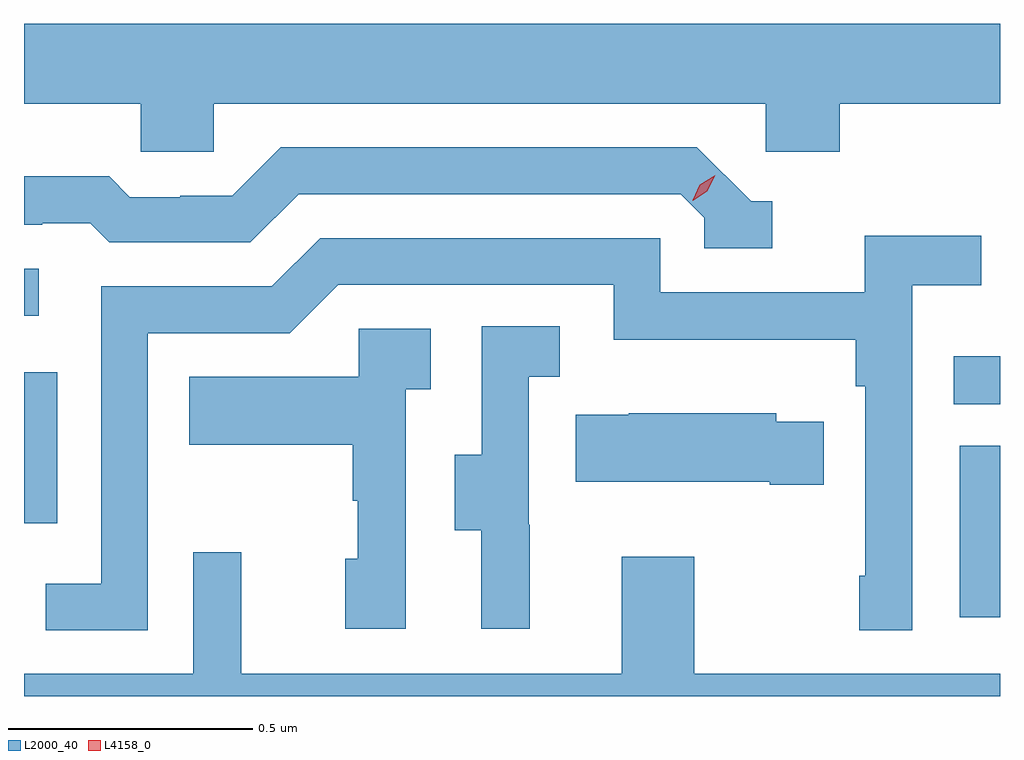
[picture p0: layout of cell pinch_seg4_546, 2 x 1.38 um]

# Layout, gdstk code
import gdstk
lib = gdstk.Library(unit=1e-6, precision=1e-09)
def R(c, l, rs):  # rectangles x0, y0, x1, y1
    for r in rs: c.add(gdstk.rectangle(r[:2], r[2:], *l))
def P(c, l, *ps):  # polygons
    for p in ps: c.add(gdstk.Polygon(p, *l))
L2000_40 = (2000, 40)
L4158_0 = (4158, 0)

pinch_seg4_546 = lib.new_cell('pinch_seg4_546')
R(pinch_seg4_546, L2000_40, [(1141.478,782.448,1141.56,782.799), (1139.56,782.64,1139.628,782.95), (1141.465,782.884,1141.56,782.983), (1139.56,783.066,1139.59,783.162)])
P(pinch_seg4_546, L2000_40, [(1139.949,783.5),(1141.08,783.5),(1141.08,783.402),(1141.232,783.402),(1141.232,783.5),(1141.56,783.5),(1141.56,783.664),(1139.56,783.664),(1139.56,783.5),(1139.799,783.5),(1139.799,783.402),(1139.949,783.402)],
  [(1141.093,783.3),(1141.05,783.3),(1140.939,783.411),(1140.086,783.411),(1139.987,783.312),(1139.88,783.312),(1139.88,783.309),(1139.777,783.309),(1139.735,783.352),(1139.56,783.352),(1139.56,783.252),(1139.597,783.252),(1139.597,783.255),(1139.696,783.255),(1139.735,783.216),(1140.024,783.216),(1140.123,783.315),(1140.906,783.315),(1140.954,783.267),(1140.954,783.204),(1141.093,783.204)],
  [(1139.814,783.03),(1140.105,783.03),(1140.204,783.129),(1140.768,783.129),(1140.768,783.017),(1141.264,783.017),(1141.264,782.921),(1141.284,782.921),(1141.284,782.533),(1141.272,782.533),(1141.272,782.421),(1141.38,782.421),(1141.38,783.128),(1141.522,783.128),(1141.522,783.23),(1141.283,783.23),(1141.283,783.114),(1140.864,783.114),(1140.864,783.225),(1140.167,783.225),(1140.068,783.126),(1139.718,783.126),(1139.718,782.517),(1139.605,782.517),(1139.605,782.421),(1139.814,782.421)],
  [(1140.596,782.637),(1140.594,782.637),(1140.594,782.941),(1140.658,782.941),(1140.658,783.044),(1140.498,783.044),(1140.498,782.781),(1140.443,782.781),(1140.443,782.626),(1140.497,782.626),(1140.497,782.424),(1140.596,782.424)],
  [(1140.342,782.915),(1140.394,782.915),(1140.394,783.039),(1140.246,783.039),(1140.246,782.941),(1139.899,782.941),(1139.899,782.801),(1140.234,782.801),(1140.234,782.687),(1140.244,782.687),(1140.244,782.568),(1140.218,782.568),(1140.218,782.424),(1140.342,782.424)],
  [(1141.199,782.848),(1141.101,782.848),(1141.101,782.866),(1140.799,782.866),(1140.799,782.863),(1140.691,782.863),(1140.691,782.726),(1141.088,782.726),(1141.088,782.719),(1141.199,782.719)],
  [(1141.56,782.332),(1140.933,782.332),(1140.933,782.572),(1140.785,782.572),(1140.785,782.332),(1140.005,782.332),(1140.005,782.581),(1139.907,782.581),(1139.907,782.332),(1139.56,782.332),(1139.56,782.286),(1141.56,782.286)])
P(pinch_seg4_546, L4158_0, [(1140.93,783.301),(1140.93,783.302),(1140.945,783.334),(1140.976,783.354),(1140.976,783.354),(1140.976,783.354),(1140.96,783.321),(1140.93,783.301)])

lib.write_gds('pinch_seg4_546.gds')
